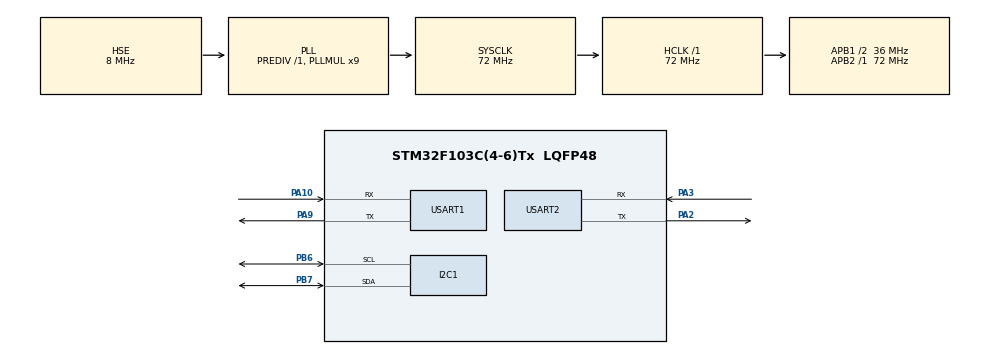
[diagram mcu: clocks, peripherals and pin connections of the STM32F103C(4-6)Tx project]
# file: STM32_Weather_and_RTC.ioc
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Dma.Request0=USART2_RX
Dma.Request1=USART2_TX
Dma.Request2=USART1_RX
Dma.Request3=USART1_TX
Dma.USART1_RX.2.Direction=DMA_PERIPH_TO_MEMORY
Dma.USART1_RX.2.Instance=DMA1_Channel5
Dma.USART1_RX.2.MemDataAlignment=DMA_MDATAALIGN_BYTE
Dma.USART1_RX.2.MemInc=DMA_MINC_ENABLE
Dma.USART1_RX.2.Mode=DMA_NORMAL
Dma.USART1_RX.2.PeriphDataAlignment=DMA_PDATAALIGN_BYTE
Dma.USART1_RX.2.PeriphInc=DMA_PINC_DISABLE
Dma.USART1_RX.2.Priority=DMA_PRIORITY_LOW
Dma.USART1_TX.3.Direction=DMA_MEMORY_TO_PERIPH
Dma.USART1_TX.3.Instance=DMA1_Channel4
Dma.USART1_TX.3.MemDataAlignment=DMA_MDATAALIGN_BYTE
Dma.USART1_TX.3.MemInc=DMA_MINC_ENABLE
Dma.USART1_TX.3.Mode=DMA_NORMAL
Dma.USART1_TX.3.PeriphDataAlignment=DMA_PDATAALIGN_BYTE
Dma.USART1_TX.3.PeriphInc=DMA_PINC_DISABLE
Dma.USART1_TX.3.Priority=DMA_PRIORITY_LOW
Dma.USART2_RX.0.Direction=DMA_PERIPH_TO_MEMORY
Dma.USART2_RX.0.Instance=DMA1_Channel6
Dma.USART2_RX.0.MemDataAlignment=DMA_MDATAALIGN_BYTE
Dma.USART2_RX.0.MemInc=DMA_MINC_ENABLE
Dma.USART2_RX.0.Mode=DMA_NORMAL
Dma.USART2_RX.0.PeriphDataAlignment=DMA_PDATAALIGN_BYTE
Dma.USART2_RX.0.PeriphInc=DMA_PINC_DISABLE
Dma.USART2_RX.0.Priority=DMA_PRIORITY_LOW
Dma.USART2_TX.1.Direction=DMA_MEMORY_TO_PERIPH
Dma.USART2_TX.1.Instance=DMA1_Channel7
Dma.USART2_TX.1.MemDataAlignment=DMA_MDATAALIGN_BYTE
Dma.USART2_TX.1.MemInc=DMA_MINC_ENABLE
Dma.USART2_TX.1.Mode=DMA_NORMAL
Dma.USART2_TX.1.PeriphDataAlignment=DMA_PDATAALIGN_BYTE
Dma.USART2_TX.1.PeriphInc=DMA_PINC_DISABLE
Dma.USART2_TX.1.Priority=DMA_PRIORITY_LOW
Mcu.Family=STM32F1
Mcu.Name=STM32F103C(4-6)Tx
Mcu.Package=LQFP48
NVIC.DMA1_Channel4_IRQn=true\:0\:0\:false\:false\:true\:false\:true\:true
NVIC.DMA1_Channel5_IRQn=true\:0\:0\:false\:false\:true\:false\:true\:true
NVIC.DMA1_Channel6_IRQn=true\:0\:0\:false\:false\:true\:false\:true\:true
NVIC.DMA1_Channel7_IRQn=true\:0\:0\:false\:false\:true\:false\:true\:true
NVIC.PriorityGroup=NVIC_PRIORITYGROUP_4
NVIC.USART1_IRQn=true\:0\:0\:false\:false\:true\:false\:true\:true
NVIC.USART2_IRQn=true\:0\:0\:false\:false\:true\:false\:true\:true
PA10.Mode=Asynchronous
PA10.Signal=USART1_RX
PA13.Mode=Serial_Wire
PA13.Signal=SYS_JTMS-SWDIO
PA14.Mode=Serial_Wire
PA14.Signal=SYS_JTCK-SWCLK
PA2.Mode=Asynchronous
PA2.Signal=USART2_TX
PA3.Mode=Asynchronous
PA3.Signal=USART2_RX
PA9.Mode=Asynchronous
PA9.Signal=USART1_TX
PB6.Mode=I2C
PB6.Signal=I2C1_SCL
PB7.Mode=I2C
PB7.Signal=I2C1_SDA
PC14-OSC32_IN.Mode=LSE-External-Oscillator
PC14-OSC32_IN.Signal=RCC_OSC32_IN
PC15-OSC32_OUT.Mode=LSE-External-Oscillator
PC15-OSC32_OUT.Signal=RCC_OSC32_OUT
PD0-OSC_IN.Mode=HSE-External-Oscillator
PD0-OSC_IN.Signal=RCC_OSC_IN
PD1-OSC_OUT.Mode=HSE-External-Oscillator
PD1-OSC_OUT.Signal=RCC_OSC_OUT
ProjectManager.HeapSize=0x200
ProjectManager.StackSize=0x400
ProjectManager.TargetToolchain=MDK-ARM V5.32
RCC.AHBFreq_Value=72000000
RCC.APB1CLKDivider=RCC_HCLK_DIV2
RCC.APB1Freq_Value=36000000
RCC.APB1TimFreq_Value=72000000
RCC.APB2Freq_Value=72000000
RCC.APB2TimFreq_Value=72000000
RCC.HCLKFreq_Value=72000000
RCC.PLLMUL=RCC_PLL_MUL9
RCC.PLLSourceVirtual=RCC_PLLSOURCE_HSE
RCC.RTCClockSelection=RCC_RTCCLKSOURCE_LSE
RCC.SYSCLKFreq_VALUE=72000000
RCC.SYSCLKSource=RCC_SYSCLKSOURCE_PLLCLK
RCC.USBFreq_Value=72000000
USART1.VirtualMode=VM_ASYNC
USART2.VirtualMode=VM_ASYNC
VP_RTC_VS_RTC_Activate.Mode=RTC_Enabled
board=custom

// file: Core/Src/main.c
/* USER CODE BEGIN Header */
/**
 ******************************************************************************
 * @file           : main.c
 * @brief          : Main program body
 ******************************************************************************
 * @attention
 *
 * Copyright (c) 2025 STMicroelectronics.
 * All rights reserved.
 *
 * This software is licensed under terms that can be found in the LICENSE file
 * in the root directory of this software component.
 * If no LICENSE file comes with this software, it is provided AS-IS.
 *
 ******************************************************************************
 */
/* USER CODE END Header */
#include "main.h"
#include "dma.h"
#include "gpio.h"
#include "i2c.h"
#include "rtc.h"
#include "usart.h"

/* USER CODE BEGIN Includes */

// #include "OLED.h"
#include "font.h"
#include "myrtc.h"
#include "oled.h"
#include <ctype.h>
#include <stdio.h>
#include <stdlib.h>
#include <string.h>

/* USER CODE END Includes */

/* USER CODE BEGIN PV */
uint8_t serial2_rxbuf[100];    // 增大缓冲区，容纳 JSON
volatile uint8_t rx2_len = 0;  // UART2 接收数据长度
volatile uint8_t rx2_flag = 0; // UART2 接收完成标志
int temperature = -1;          // 温度，-1 表示无效
int humidity = -1;             // 湿度，-1 表示无效
char tempstr[12] = {0};        // Temp:xxC
char humidstr[12] = {0};       // Hum:xx%
char reporttime[20] = "N/A";   // 天气 API 的 reporttime
char short_rpt[9] = "N/A";     // 截断 reporttime 为 hh:mm:ss
/* Private variables ---------------------------------------------------------*/
extern UART_HandleTypeDef huart1;
extern UART_HandleTypeDef huart2;
extern DMA_HandleTypeDef hdma_usart1_rx;
extern DMA_HandleTypeDef hdma_usart1_tx;
extern DMA_HandleTypeDef hdma_usart2_rx;
extern DMA_HandleTypeDef hdma_usart2_tx;
extern RTC_HandleTypeDef hrtc;
/* USER CODE END PV */

void SystemClock_Config(void);
/* USER CODE BEGIN PFP */

/**
 * @brief  解析接收到的 JSON 数据，提取 temperature 和 humidity
 * @param  buffer: 接收到的 UART 数据缓冲区
 * @param  temp: 存储解析后的温度值
 * @param  hum: 存储解析后的湿度值
 */
/**
 * @brief  解析天气 JSON 数据，提取 temperature、humidity 和 reporttime
 * @param  buffer: 接收到的 UART 数据缓冲区
 * @param  temp: 存储解析后的温度值
 * @param  hum: 存储解析后的湿度值
 * @param  rpt: 存储解析后的 reporttime（yyyy-mm-dd hh:mm:ss）
 */
void parseWeatherData(uint8_t *buffer, int *temp, int *hum, char *rpt) {
  *temp = -1;
  *hum = -1;
  strcpy(rpt, "N/A");

  char *data = (char *)buffer;

  char *temp_start = strstr(data, "\"temperature\"");
  if (temp_start != NULL) {
    temp_start += strlen("\"temperature\"");
    while (*temp_start == ' ' || *temp_start == ':' || *temp_start == '\n') {
      temp_start++;
    }
    if (*temp_start == '"') {
      temp_start++;
      char *temp_end = strchr(temp_start, '"');
      if (temp_end != NULL && (temp_end - temp_start) < 10) {
        char temp_str[10];
        strncpy(temp_str, temp_start, temp_end - temp_start);
        temp_str[temp_end - temp_start] = '\0';
        char *p = temp_str;
        while (*p) {
          if (!isdigit(*p))
            break;
          p++;
        }
        if (*p == '\0' && temp_str[0] != '\0') {
          *temp = atoi(temp_str);
        }
      }
    }
  }

  char *hum_start = strstr(data, "\"humidity\"");
  if (hum_start != NULL) {
    hum_start += strlen("\"humidity\"");
    while (*hum_start == ' ' || *hum_start == ':' || *hum_start == '\n') {
      hum_start++;
    }
    if (*hum_start == '"') {
      hum_start++;
      char *hum_end = strchr(hum_start, '"');
      if (hum_end != NULL && (hum_end - hum_start) < 10) {
        char hum_str[10];
        strncpy(hum_str, hum_start, hum_end - hum_start);
        hum_str[hum_end - hum_start] = '\0';
        char *p = hum_str;
        while (*p) {
          if (!isdigit(*p))
            break;
          p++;
        }
        if (*p == '\0' && hum_str[0] != '\0') {
          *hum = atoi(hum_str);
        }
      }
    }
  }

  char *rpt_start = strstr(data, "\"reporttime\"");
  if (rpt_start != NULL) {
    rpt_start += strlen("\"reporttime\"");
    while (*rpt_start == ' ' || *rpt_start == ':' || *rpt_start == '\n') {
      rpt_start++;
    }
    if (*rpt_start == '"') {
      rpt_start++;
      char *rpt_end = strchr(rpt_start, '"');
      if (rpt_end != NULL && (rpt_end - rpt_start) < 20) {
        strncpy(rpt, rpt_start, rpt_end - rpt_start);
        rpt[rpt_end - rpt_start] = '\0';
      }
    }
  }
}
/**
 * @brief  解析 NTP JSON 数据，提取 ntptime
 * @param  buffer: 接收到的 UART 数据缓冲区
 * @param  ntptime: 存储解析后的 ntptime（yyyy-mm-dd hh:mm:ss）
 */
void parseNTPTime(uint8_t *buffer, char *ntptime) {
  strcpy(ntptime, "N/A");

  char *data = (char *)buffer;

  // 查找 "ntptime": " 字段
  char *ntp_start = strstr(data, "\"ntptime\"");
  if (ntp_start != NULL) {
    ntp_start += strlen("\"ntptime\"");
    while (*ntp_start == ' ' || *ntp_start == ':' || *ntp_start == '\n') {
      ntp_start++;
    }
    if (*ntp_start == '"') {
      ntp_start++;
      char *ntp_end = strchr(ntp_start, '"');
      if (ntp_end != NULL && (ntp_end - ntp_start) < 20) {
        strncpy(ntptime, ntp_start, ntp_end - ntp_start);
        ntptime[ntp_end - ntp_start] = '\0';
      }
    }
  }
}
/**
 * @brief  使用 ntptime 更新 RTC
 * @param  ntptime: 格式为 yyyy-mm-dd hh:mm:ss 的字符串
 */
void updateRTC(const char *ntptime) {
  if (strcmp(ntptime, "N/A") == 0) {
    return;
  }

  int year, month, day, hour, minute, second;
  if (sscanf(ntptime, "%d-%d-%d %d:%d:%d", &year, &month, &day, &hour, &minute,
             &second) == 6) {
    // second += 5;
    RTC_SetTime(year, month, day, hour, minute, second);
  } else {
    printf("Invalid ntptime format: %s\r\n", ntptime);
  }
}
void HAL_UARTEx_RxEventCallback(UART_HandleTypeDef *huart, uint16_t Size) {
  if (huart->Instance == USART2) {
    rx2_len = Size; // 记录接收到的数据长度
    rx2_flag = 1;   // 设置接收完成标志
    HAL_UARTEx_ReceiveToIdle_DMA(&huart2, serial2_rxbuf,
                                 sizeof(serial2_rxbuf)); // 重新启动 DMA 接收
    __HAL_DMA_DISABLE_IT(&hdma_usart2_rx, DMA_IT_HT);    // 禁用半传输中断
  }
}

void HAL_UART_ErrorCallback(UART_HandleTypeDef *huart) {
  // 错误处理，重新启动 DMA 接收
  if (huart->Instance == USART2) {
    HAL_UARTEx_ReceiveToIdle_DMA(&huart2, serial2_rxbuf, sizeof(serial2_rxbuf));
    __HAL_DMA_DISABLE_IT(&hdma_usart2_rx, DMA_IT_HT);
  }
}
/* USER CODE END PFP */

/* USER CODE BEGIN 0 */
int fputc(int ch, FILE *f) // printf
{
  HAL_UART_Transmit(&huart1, (uint8_t *)&ch, 1, HAL_MAX_DELAY); // printf
  // HAL_UART_Transmit_DMA(&huart1, (uint8_t *)&ch, 1);
  return (ch);
}

int fgetc(FILE *f) {
  uint8_t ch;
  HAL_UART_Receive(&huart1, (uint8_t *)&ch, 1, HAL_MAX_DELAY); // scanf
  return ch;
}
/* USER CODE END 0 */

int main(void) {

  /* MCU Configuration--------------------------------------------------------*/

  /* Reset of all peripherals, Initializes the Flash interface and the Systick.
   */
  HAL_Init();

  /* Configure the system clock */
  SystemClock_Config();

  /* Initialize all configured peripherals */
  MX_GPIO_Init();
  MX_DMA_Init();
  MX_I2C1_Init();
  MX_USART2_UART_Init();
  MX_RTC_Init();
  MX_USART1_UART_Init();
  /* USER CODE BEGIN 2 */
  HAL_Delay(20);
  OLED_Init();
  OLED_NewFrame();
  KK_RTC_Init();
  uint32_t total_second_day = 0;
  uint16_t total_second_minute = 0;

  // 启动 DMA 接收
  HAL_UARTEx_ReceiveToIdle_DMA(&huart2, serial2_rxbuf, sizeof(serial2_rxbuf));
  __HAL_DMA_DISABLE_IT(&hdma_usart2_rx, DMA_IT_HT);
  /* USER CODE END 2 */

  /* Infinite loop */
  /* USER CODE BEGIN WHILE */
  while (1) {

    // RTC部分
    RTC_DateTimeTypeDef calendar;
    RTC_GetTime(&calendar);
    uint32_t total_second_day =
        calendar.hour * 3600 + calendar.min * 60 + calendar.sec;
    uint16_t total_second_minute = calendar.min * 60 + calendar.sec;
    uint8_t day_percentage =
        (uint8_t)((float)total_second_day / 86400 * 100); // 天进度条百分比
    uint8_t hour_percentage =
        (uint8_t)((float)total_second_minute / 3600 * 100); // 小时进度条百分比
    uint8_t minute_percentage =
        (uint8_t)((float)calendar.sec / 60 * 100); // 分钟进度条百分比
    char str[30];
    char datestr[30];
    char percentStr[10]; // 用于存储百分比字符串

    sprintf(str, "%02d:%02d:%02d", calendar.hour, calendar.min, calendar.sec);
    sprintf(datestr, "%d-%02d-%02d", calendar.year, calendar.month,
            calendar.date);

    //  检查 UART2 接收到的天气数据
    if (rx2_flag) {
      serial2_rxbuf[rx2_len] = '1';
      printf("Received: %s\r\n", serial2_rxbuf);

      // 判断 JSON 类型
      if (strstr((char *)serial2_rxbuf, "\"ntptime\"") != NULL) {
        char ntptime[20] = "N/A";
        parseNTPTime(serial2_rxbuf, ntptime);
        if (strcmp(ntptime, "N/A") != 0) {
          updateRTC(ntptime);
        } else {
          printf("Parse failed: 'ntptime' invalid\r\n");
        }
      } else if (strstr((char *)serial2_rxbuf, "\"temperature\"") != NULL) {
        parseWeatherData(serial2_rxbuf, &temperature, &humidity, reporttime);
        if (temperature == -1 || humidity == -1 ||
            strcmp(reporttime, "N/A") == 0) {
          printf("Parse failed: ");
          if (strstr((char *)serial2_rxbuf, "\"temperature\"") == NULL) {
            printf("'temperature' not found; ");
          }
          if (strstr((char *)serial2_rxbuf, "\"humidity\"") == NULL) {
            printf("'humidity' not found; ");
          }
          if (strstr((char *)serial2_rxbuf, "\"reporttime\"") == NULL) {
            printf("'reporttime' not found");
          }
          printf("\r\n");
        }
      } else {
        printf("Unknown JSON format\r\n");
      }
      rx2_flag = 0;
    }

    // 截断 reporttime 为 hh:mm:ss
    if (strcmp(reporttime, "N/A") == 0 || strlen(reporttime) < 19) {
      strcpy(short_rpt, "N/A");
    } else {
      strncpy(short_rpt, reporttime + 11, 8);
      short_rpt[8] = '\0';
    }

    sprintf(tempstr, "Temp:%d °C", temperature);
    sprintf(humidstr, "Hum:%d %%", humidity);
    OLED_NewFrame();
    OLED_PrintASCIIString(20, 50, datestr, &afont8x6, OLED_COLOR_NORMAL);
    OLED_PrintASCIIString(32, 30, str, &afont16x8, OLED_COLOR_NORMAL);
    OLED_PrintASCIIString(0, 0, tempstr, &afont8x6, OLED_COLOR_NORMAL);
    OLED_PrintASCIIString(0, 10, short_rpt, &afont8x6, OLED_COLOR_NORMAL);
    OLED_PrintASCIIString(0, 20, humidstr, &afont8x6, OLED_COLOR_NORMAL);
    OLED_ShowFrame();
    HAL_Delay(1000); // 每秒检查一次
    /* USER CODE END WHILE */

  }
}

void SystemClock_Config(void) {
  RCC_OscInitTypeDef RCC_OscInitStruct = {0};
  RCC_ClkInitTypeDef RCC_ClkInitStruct = {0};
  RCC_PeriphCLKInitTypeDef PeriphClkInit = {0};

  /** Initializes the RCC Oscillators according to the specified parameters
   * in the RCC_OscInitTypeDef structure.
   */
  RCC_OscInitStruct.OscillatorType =
      RCC_OSCILLATORTYPE_HSE | RCC_OSCILLATORTYPE_LSE;
  RCC_OscInitStruct.HSEState = RCC_HSE_ON;
  RCC_OscInitStruct.HSEPredivValue = RCC_HSE_PREDIV_DIV1;
  RCC_OscInitStruct.LSEState = RCC_LSE_ON;
  RCC_OscInitStruct.HSIState = RCC_HSI_ON;
  RCC_OscInitStruct.PLL.PLLState = RCC_PLL_ON;
  RCC_OscInitStruct.PLL.PLLSource = RCC_PLLSOURCE_HSE;
  RCC_OscInitStruct.PLL.PLLMUL = RCC_PLL_MUL9;
  if (HAL_RCC_OscConfig(&RCC_OscInitStruct) != HAL_OK) {
    Error_Handler();
  }

  /** Initializes the CPU, AHB and APB buses clocks
   */
  RCC_ClkInitStruct.ClockType = RCC_CLOCKTYPE_HCLK | RCC_CLOCKTYPE_SYSCLK |
                                RCC_CLOCKTYPE_PCLK1 | RCC_CLOCKTYPE_PCLK2;
  RCC_ClkInitStruct.SYSCLKSource = RCC_SYSCLKSOURCE_PLLCLK;
  RCC_ClkInitStruct.AHBCLKDivider = RCC_SYSCLK_DIV1;
  RCC_ClkInitStruct.APB1CLKDivider = RCC_HCLK_DIV2;
  RCC_ClkInitStruct.APB2CLKDivider = RCC_HCLK_DIV1;

  if (HAL_RCC_ClockConfig(&RCC_ClkInitStruct, FLASH_LATENCY_2) != HAL_OK) {
    Error_Handler();
  }
  PeriphClkInit.PeriphClockSelection = RCC_PERIPHCLK_RTC;
  PeriphClkInit.RTCClockSelection = RCC_RTCCLKSOURCE_LSE;
  if (HAL_RCCEx_PeriphCLKConfig(&PeriphClkInit) != HAL_OK) {
    Error_Handler();
  }
}

void Error_Handler(void) {
  /* USER CODE BEGIN Error_Handler_Debug */
  /* User can add his own implementation to report the HAL error return state
   */
  __disable_irq();
  while (1) {
  }
  /* USER CODE END Error_Handler_Debug */
}

#ifdef USE_FULL_ASSERT
/**
 * @brief  Reports the name of the source file and the source line number
 *         where the assert_param error has occurred.
 * @param  file: pointer to the source file name
 * @param  line: assert_param error line source number
 * @retval None
 */
void assert_failed(uint8_t *file, uint32_t line) {
  /* USER CODE BEGIN 6 */
  /* User can add his own implementation to report the file name and line
     number, ex: printf("Wrong parameters value: file %s on line %d\r\n",
     file, line) */
  /* USER CODE END 6 */
}
#endif /* USE_FULL_ASSERT */
